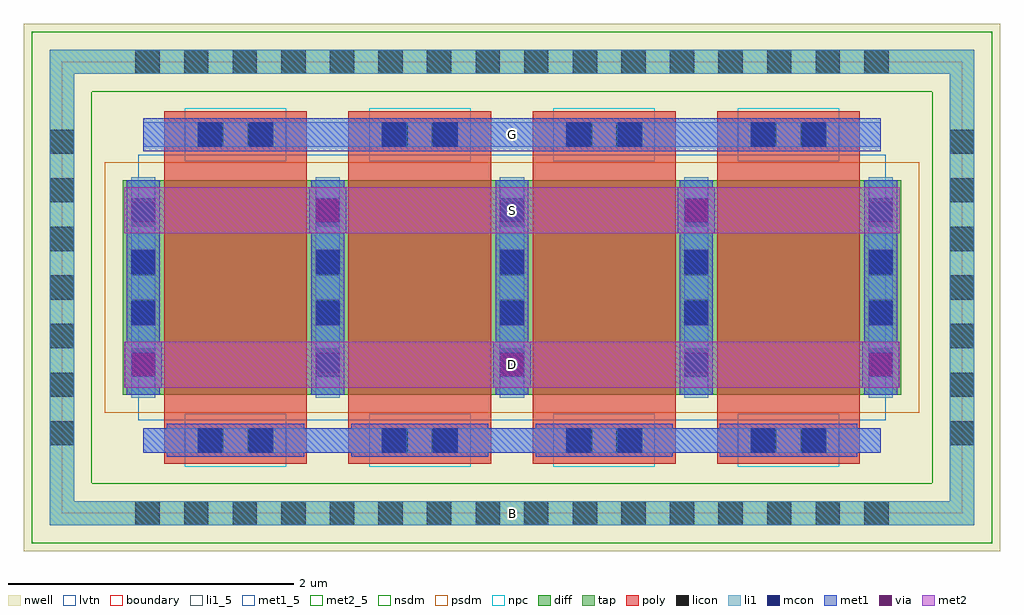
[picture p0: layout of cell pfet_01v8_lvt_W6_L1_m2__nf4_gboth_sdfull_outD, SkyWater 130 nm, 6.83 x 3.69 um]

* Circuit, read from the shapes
.subckt pfet_01v8_lvt_W6_L1_m2__nf4_gboth_sdfull_outD B D G S
XM1 S G D B sky130_fd_pr__pfet_01v8_lvt w=1.5 l=1 m=4
.ends

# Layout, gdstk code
import gdstk
lib = gdstk.Library(unit=1e-6, precision=1e-09)
def R(c, l, rs):  # rectangles x0, y0, x1, y1
    for r in rs: c.add(gdstk.rectangle(r[:2], r[2:], *l))
def A(c, l, x, y, w, h, nx, ny, dx, dy):  # array of equal rectangles
    R(c, l, [(x+i*dx, y+j*dy, x+i*dx+w, y+j*dy+h) for i in range(nx) for j in range(ny)])
nwell = (64, 20)
diff = (65, 20)
tap = (65, 44)
poly = (66, 20)
licon = (66, 44)
li1_5 = (67, 5)
li1 = (67, 20)
mcon = (67, 44)
met1_5 = (68, 5)
met1 = (68, 20)
via = (68, 44)
met2_5 = (69, 5)
met2 = (69, 20)
nsdm = (93, 44)
psdm = (94, 20)
npc = (95, 20)
lvtn = (125, 44)
boundary = (235, 4)

sky130_fd_pr__pfet_01v8_ = lib.new_cell('sky130_fd_pr__pfet_01v8_lvt_7FTUU3')
R(sky130_fd_pr__pfet_01v8_, nwell, [(-3.415,-1.845,3.415,1.845)])
R(sky130_fd_pr__pfet_01v8_, diff, [(-2.725,-0.75,2.725,0.75)])
R(sky130_fd_pr__pfet_01v8_, tap, [(-3.235,-1.665,3.235,-1.495), (-3.235,-1.495,-3.065,1.495), (3.065,-1.495,3.235,1.495), (-3.235,1.495,3.235,1.665)])
A(sky130_fd_pr__pfet_01v8_, poly, -2.435, -1.235, 1, 2.47, 4, 1, 1.29, 0)
A(sky130_fd_pr__pfet_01v8_, licon, -2.635, -1.665, 0.17, 0.17, 16, 2, 0.34, 3.16)
A(sky130_fd_pr__pfet_01v8_, licon, -3.235, -1.105, 0.17, 0.17, 1, 7, 0, 0.34)
A(sky130_fd_pr__pfet_01v8_, licon, 3.065, -1.105, 0.17, 0.17, 1, 7, 0, 0.34)
A(sky130_fd_pr__pfet_01v8_, licon, -2.665, -0.595, 0.17, 0.17, 5, 4, 1.29, 0.34)
R(sky130_fd_pr__pfet_01v8_, licon, [(-2.19,-1.155,-2.02,-0.985), (-1.85,-1.155,-1.68,-0.985), (-0.9,-1.155,-0.73,-0.985), (-0.56,-1.155,-0.39,-0.985), (0.39,-1.155,0.56,-0.985), (0.73,-1.155,0.9,-0.985), (1.68,-1.155,1.85,-0.985), (2.02,-1.155,2.19,-0.985), (-2.19,0.985,-2.02,1.155), (-1.85,0.985,-1.68,1.155), (-0.9,0.985,-0.73,1.155), (-0.56,0.985,-0.39,1.155), (0.39,0.985,0.56,1.155), (0.73,0.985,0.9,1.155), (1.68,0.985,1.85,1.155), (2.02,0.985,2.19,1.155)])
A(sky130_fd_pr__pfet_01v8_, li1, -2.665, -0.77, 0.17, 1.54, 5, 1, 1.29, 0)
R(sky130_fd_pr__pfet_01v8_, li1, [(-3.235,-1.665,3.235,-1.495), (-3.235,-1.495,-3.065,1.495), (3.065,-1.495,3.235,1.495), (-2.58,-1.155,2.58,-0.985), (-2.58,0.985,2.58,1.155), (-3.235,1.495,3.235,1.665)])
A(sky130_fd_pr__pfet_01v8_, mcon, -2.665, -0.625, 0.17, 0.17, 5, 4, 1.29, 0.36)
R(sky130_fd_pr__pfet_01v8_, mcon, [(-2.2,-1.155,-2.03,-0.985), (-1.84,-1.155,-1.67,-0.985), (-0.91,-1.155,-0.74,-0.985), (-0.55,-1.155,-0.38,-0.985), (0.38,-1.155,0.55,-0.985), (0.74,-1.155,0.91,-0.985), (1.67,-1.155,1.84,-0.985), (2.03,-1.155,2.2,-0.985), (-2.2,0.985,-2.03,1.155), (-1.84,0.985,-1.67,1.155), (-0.91,0.985,-0.74,1.155), (-0.55,0.985,-0.38,1.155), (0.38,0.985,0.55,1.155), (0.74,0.985,0.91,1.155), (1.67,0.985,1.84,1.155), (2.03,0.985,2.2,1.155)])
A(sky130_fd_pr__pfet_01v8_, met1, -2.415, -1.185, 0.96, 0.03, 4, 2, 1.29, 0.2)
A(sky130_fd_pr__pfet_01v8_, met1, -2.695, -0.75, 0.23, 1.5, 5, 1, 1.29, 0)
A(sky130_fd_pr__pfet_01v8_, met1, -2.415, 0.955, 0.96, 0.03, 4, 2, 1.29, 0.2)
R(sky130_fd_pr__pfet_01v8_, met1, [(-2.58,-1.155,2.58,-0.985), (-2.58,0.985,2.58,1.155)])
R(sky130_fd_pr__pfet_01v8_, nsdm, [(-3.36,-1.79,3.36,-1.37), (-3.36,-1.37,-2.94,1.37), (2.94,-1.37,3.36,1.37), (-3.36,1.37,3.36,1.79)])
R(sky130_fd_pr__pfet_01v8_, psdm, [(-2.85,-0.875,2.85,0.875)])
A(sky130_fd_pr__pfet_01v8_, npc, -2.29, -1.255, 0.71, 0.37, 4, 2, 1.29, 2.14)
R(sky130_fd_pr__pfet_01v8_, lvtn, [(-2.615,-0.93,2.615,0.93)])
R(sky130_fd_pr__pfet_01v8_, boundary, [(-3.15,-1.58,3.15,1.58)])
sky130_fd_pr__pfet_01v8_.add(gdstk.Label('B', (0,-1.58), layer=67, texttype=5))
sky130_fd_pr__pfet_01v8_.add(gdstk.Label('D0', (-2.58,0), layer=67, texttype=5))
sky130_fd_pr__pfet_01v8_.add(gdstk.Label('G', (1.935,1.07), layer=67, texttype=5))
sky130_fd_pr__pfet_01v8_.add(gdstk.Label('G', (0.645,1.07), layer=67, texttype=5))
sky130_fd_pr__pfet_01v8_.add(gdstk.Label('G', (-0.645,1.07), layer=67, texttype=5))
sky130_fd_pr__pfet_01v8_.add(gdstk.Label('G', (-1.935,1.07), layer=67, texttype=5))
sky130_fd_pr__pfet_01v8_.add(gdstk.Label('S1', (-1.29,0), layer=67, texttype=5))
sky130_fd_pr__pfet_01v8_.add(gdstk.Label('D2', (0,0), layer=67, texttype=5))
sky130_fd_pr__pfet_01v8_.add(gdstk.Label('S3', (1.29,0), layer=67, texttype=5))

pfet_01v8_lvt_w6_l1_m2__ = lib.new_cell('pfet_01v8_lvt_W6_L1_m2__nf4_gboth_sdfull_outD')
R(pfet_01v8_lvt_w6_l1_m2__, li1_5, [(3.065,-0.085,3.235,0.085)])
R(pfet_01v8_lvt_w6_l1_m2__, li1, [(3.065,-0.085,3.235,0.085)])
R(pfet_01v8_lvt_w6_l1_m2__, met1_5, [(0.57,2.535,5.73,2.765)])
A(pfet_01v8_lvt_w6_l1_m2__, met1, 0.44, 0.88, 0.26, 0.32, 3, 1, 2.58, 0)
R(pfet_01v8_lvt_w6_l1_m2__, met1, [(1.73,1.96,1.99,2.28), (4.31,1.96,4.57,2.28), (0.57,2.535,5.73,2.765)])
A(pfet_01v8_lvt_w6_l1_m2__, via, 0.495, 0.965, 0.15, 0.15, 3, 1, 2.58, 0)
R(pfet_01v8_lvt_w6_l1_m2__, via, [(1.785,2.045,1.935,2.195), (4.365,2.045,4.515,2.195)])
R(pfet_01v8_lvt_w6_l1_m2__, met2_5, [(0.435,0.88,5.865,1.2), (0.435,1.96,5.865,2.28)])
R(pfet_01v8_lvt_w6_l1_m2__, met2, [(0.435,0.88,5.865,1.2), (0.435,1.96,5.865,2.28)])
pfet_01v8_lvt_w6_l1_m2__.add(gdstk.Reference(sky130_fd_pr__pfet_01v8_, (3.15,1.58)))
pfet_01v8_lvt_w6_l1_m2__.add(gdstk.Label('S', (3.15,2.12), layer=69, texttype=5))
pfet_01v8_lvt_w6_l1_m2__.add(gdstk.Label('D', (3.15,1.04), layer=69, texttype=5))
pfet_01v8_lvt_w6_l1_m2__.add(gdstk.Label('G', (3.15,2.65), layer=68, texttype=5))
pfet_01v8_lvt_w6_l1_m2__.add(gdstk.Label('B', (3.15,0), layer=67, texttype=5))

lib.write_gds('pfet_01v8_lvt_W6_L1_m2__nf4_gboth_sdfull_outD.gds')
